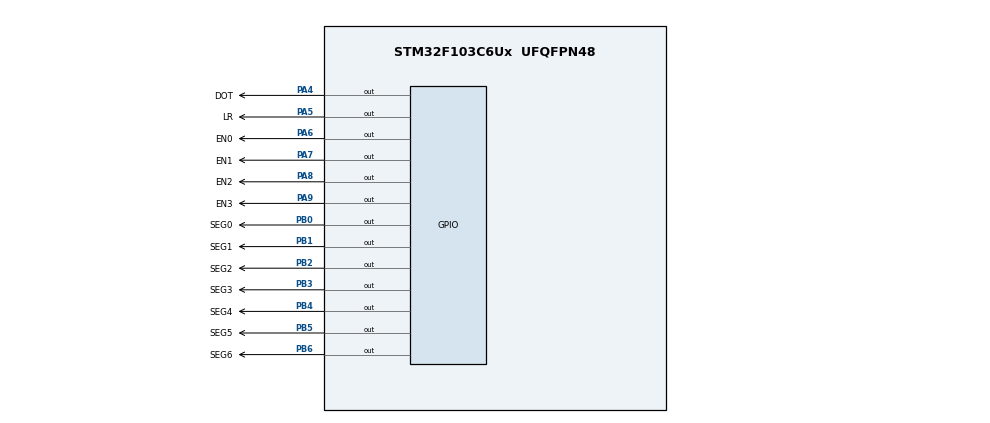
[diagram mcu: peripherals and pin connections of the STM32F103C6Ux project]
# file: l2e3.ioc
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Mcu.Family=STM32F1
Mcu.Name=STM32F103C6Ux
Mcu.Package=UFQFPN48
NVIC.PriorityGroup=NVIC_PRIORITYGROUP_4
NVIC.TIM2_IRQn=true\:0\:0\:false\:false\:true\:true\:true
PA4.GPIO_Label=DOT
PA4.Signal=GPIO_Output
PA5.GPIO_Label=LR
PA5.Signal=GPIO_Output
PA6.GPIO_Label=EN0
PA6.Signal=GPIO_Output
PA7.GPIO_Label=EN1
PA7.Signal=GPIO_Output
PA8.GPIO_Label=EN2
PA8.Signal=GPIO_Output
PA9.GPIO_Label=EN3
PA9.Signal=GPIO_Output
PB0.GPIO_Label=SEG0
PB0.Signal=GPIO_Output
PB1.GPIO_Label=SEG1
PB1.Signal=GPIO_Output
PB2.GPIO_Label=SEG2
PB2.Signal=GPIO_Output
PB3.GPIO_Label=SEG3
PB3.Signal=GPIO_Output
PB4.GPIO_Label=SEG4
PB4.Signal=GPIO_Output
PB5.GPIO_Label=SEG5
PB5.Signal=GPIO_Output
PB6.GPIO_Label=SEG6
PB6.Signal=GPIO_Output
ProjectManager.HeapSize=0x200
ProjectManager.StackSize=0x400
ProjectManager.TargetToolchain=STM32CubeIDE
RCC.APB1Freq_Value=8000000
RCC.APB2Freq_Value=8000000
TIM2.Period=9
TIM2.Prescaler=7999
VP_SYS_VS_ND.Mode=No_Debug
VP_TIM2_VS_ClockSourceINT.Mode=Internal
board=custom

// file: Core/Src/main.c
/* USER CODE BEGIN Header */
/**
  ******************************************************************************
  * @file           : main.c
  * @brief          : Main program body
  ******************************************************************************
  * @attention
  *
  * <h2><center>&copy; Copyright (c) 2026 STMicroelectronics.
  * All rights reserved.</center></h2>
  *
  * This software component is licensed by ST under BSD 3-Clause license,
  * the "License"; You may not use this file except in compliance with the
  * License. You may obtain a copy of the License at:
  *                        opensource.org/licenses/BSD-3-Clause
  *
  ******************************************************************************
  */
/* USER CODE END Header */
#include "main.h"

TIM_HandleTypeDef htim2;

void SystemClock_Config(void);
static void MX_GPIO_Init(void);
static void MX_TIM2_Init(void);

void display7SEG(int num) {
    if (num < 0 || num > 9) return;

    uint8_t segMatrix[10][7] = {
        {0, 0, 0, 0, 0, 0, 1}, // Số 0
        {1, 0, 0, 1, 1, 1, 1}, // Số 1
        {0, 0, 1, 0, 0, 1, 0}, // Số 2
        {0, 0, 0, 0, 1, 1, 0}, // Số 3
        {1, 0, 0, 1, 1, 0, 0}, // Số 4
        {0, 1, 0, 0, 1, 0, 0}, // Số 5
        {0, 1, 0, 0, 0, 0, 0}, // Số 6
        {0, 0, 0, 1, 1, 1, 1}, // Số 7
        {0, 0, 0, 0, 0, 0, 0}, // Số 8
        {0, 0, 0, 0, 1, 0, 0}  // Số 9
    };

    HAL_GPIO_WritePin(SEG0_GPIO_Port, SEG0_Pin, segMatrix[num][0]);
    HAL_GPIO_WritePin(SEG1_GPIO_Port, SEG1_Pin, segMatrix[num][1]);
    HAL_GPIO_WritePin(SEG2_GPIO_Port, SEG2_Pin, segMatrix[num][2]);
    HAL_GPIO_WritePin(SEG3_GPIO_Port, SEG3_Pin, segMatrix[num][3]);
    HAL_GPIO_WritePin(SEG4_GPIO_Port, SEG4_Pin, segMatrix[num][4]);
    HAL_GPIO_WritePin(SEG5_GPIO_Port, SEG5_Pin, segMatrix[num][5]);
    HAL_GPIO_WritePin(SEG6_GPIO_Port, SEG6_Pin, segMatrix[num][6]);
}
int main(void)
{

  /* MCU Configuration--------------------------------------------------------*/

  /* Reset of all peripherals, Initializes the Flash interface and the Systick. */
  HAL_Init();

  /* Configure the system clock */
  SystemClock_Config();

  /* Initialize all configured peripherals */
  MX_GPIO_Init();
  MX_TIM2_Init();
  /* USER CODE BEGIN 2 */
  HAL_TIM_Base_Start_IT (& htim2 );
  /* USER CODE END 2 */

  /* Infinite loop */
  while (1)
  {

  }
}

void SystemClock_Config(void)
{
  RCC_OscInitTypeDef RCC_OscInitStruct = {0};
  RCC_ClkInitTypeDef RCC_ClkInitStruct = {0};

  /** Initializes the RCC Oscillators according to the specified parameters
  * in the RCC_OscInitTypeDef structure.
  */
  RCC_OscInitStruct.OscillatorType = RCC_OSCILLATORTYPE_HSI;
  RCC_OscInitStruct.HSIState = RCC_HSI_ON;
  RCC_OscInitStruct.HSICalibrationValue = RCC_HSICALIBRATION_DEFAULT;
  RCC_OscInitStruct.PLL.PLLState = RCC_PLL_NONE;
  if (HAL_RCC_OscConfig(&RCC_OscInitStruct) != HAL_OK)
  {
    Error_Handler();
  }
  /** Initializes the CPU, AHB and APB buses clocks
  */
  RCC_ClkInitStruct.ClockType = RCC_CLOCKTYPE_HCLK|RCC_CLOCKTYPE_SYSCLK
                              |RCC_CLOCKTYPE_PCLK1|RCC_CLOCKTYPE_PCLK2;
  RCC_ClkInitStruct.SYSCLKSource = RCC_SYSCLKSOURCE_HSI;
  RCC_ClkInitStruct.AHBCLKDivider = RCC_SYSCLK_DIV1;
  RCC_ClkInitStruct.APB1CLKDivider = RCC_HCLK_DIV1;
  RCC_ClkInitStruct.APB2CLKDivider = RCC_HCLK_DIV1;

  if (HAL_RCC_ClockConfig(&RCC_ClkInitStruct, FLASH_LATENCY_0) != HAL_OK)
  {
    Error_Handler();
  }
}

static void MX_TIM2_Init(void)
{

  TIM_ClockConfigTypeDef sClockSourceConfig = {0};
  TIM_MasterConfigTypeDef sMasterConfig = {0};

  htim2.Instance = TIM2;
  htim2.Init.Prescaler = 7999;
  htim2.Init.CounterMode = TIM_COUNTERMODE_UP;
  htim2.Init.Period = 9;
  htim2.Init.ClockDivision = TIM_CLOCKDIVISION_DIV1;
  htim2.Init.AutoReloadPreload = TIM_AUTORELOAD_PRELOAD_DISABLE;
  if (HAL_TIM_Base_Init(&htim2) != HAL_OK)
  {
    Error_Handler();
  }
  sClockSourceConfig.ClockSource = TIM_CLOCKSOURCE_INTERNAL;
  if (HAL_TIM_ConfigClockSource(&htim2, &sClockSourceConfig) != HAL_OK)
  {
    Error_Handler();
  }
  sMasterConfig.MasterOutputTrigger = TIM_TRGO_RESET;
  sMasterConfig.MasterSlaveMode = TIM_MASTERSLAVEMODE_DISABLE;
  if (HAL_TIMEx_MasterConfigSynchronization(&htim2, &sMasterConfig) != HAL_OK)
  {
    Error_Handler();
  }

}

static void MX_GPIO_Init(void)
{
  GPIO_InitTypeDef GPIO_InitStruct = {0};

  /* GPIO Ports Clock Enable */
  __HAL_RCC_GPIOA_CLK_ENABLE();
  __HAL_RCC_GPIOB_CLK_ENABLE();

  /*Configure GPIO pin Output Level */
  HAL_GPIO_WritePin(GPIOA, DOT_Pin|LR_Pin|EN0_Pin|EN1_Pin
                          |EN2_Pin|EN3_Pin, GPIO_PIN_RESET);

  /*Configure GPIO pin Output Level */
  HAL_GPIO_WritePin(GPIOB, SEG0_Pin|SEG1_Pin|SEG2_Pin|SEG3_Pin
                          |SEG4_Pin|SEG5_Pin|SEG6_Pin, GPIO_PIN_RESET);

  /*Configure GPIO pins : DOT_Pin LR_Pin EN0_Pin EN1_Pin
                           EN2_Pin EN3_Pin */
  GPIO_InitStruct.Pin = DOT_Pin|LR_Pin|EN0_Pin|EN1_Pin
                          |EN2_Pin|EN3_Pin;
  GPIO_InitStruct.Mode = GPIO_MODE_OUTPUT_PP;
  GPIO_InitStruct.Pull = GPIO_NOPULL;
  GPIO_InitStruct.Speed = GPIO_SPEED_FREQ_LOW;
  HAL_GPIO_Init(GPIOA, &GPIO_InitStruct);

  /*Configure GPIO pins : SEG0_Pin SEG1_Pin SEG2_Pin SEG3_Pin
                           SEG4_Pin SEG5_Pin SEG6_Pin */
  GPIO_InitStruct.Pin = SEG0_Pin|SEG1_Pin|SEG2_Pin|SEG3_Pin
                          |SEG4_Pin|SEG5_Pin|SEG6_Pin;
  GPIO_InitStruct.Mode = GPIO_MODE_OUTPUT_PP;
  GPIO_InitStruct.Pull = GPIO_NOPULL;
  GPIO_InitStruct.Speed = GPIO_SPEED_FREQ_LOW;
  HAL_GPIO_Init(GPIOB, &GPIO_InitStruct);

}

/* USER CODE BEGIN 4 */
int counter = 50;
int led = 0;
const int MAX_LED = 4;
int index_led = 0;
int led_buffer [4] = {1 , 2 , 3 , 4};
void update7SEG(int index)
{
    // Tắt cả 4 LED
    HAL_GPIO_WritePin(EN0_GPIO_Port, EN0_Pin, GPIO_PIN_SET);
    HAL_GPIO_WritePin(EN1_GPIO_Port, EN1_Pin, GPIO_PIN_SET);
    HAL_GPIO_WritePin(EN2_GPIO_Port, EN2_Pin, GPIO_PIN_SET);
    HAL_GPIO_WritePin(EN3_GPIO_Port, EN3_Pin, GPIO_PIN_SET);

    switch(index)
    {
        case 0:
            display7SEG(led_buffer[0]);
            HAL_GPIO_WritePin(EN0_GPIO_Port, EN0_Pin, GPIO_PIN_RESET);
            break;
        case 1:
            display7SEG(led_buffer[1]);
            HAL_GPIO_WritePin(EN1_GPIO_Port, EN1_Pin, GPIO_PIN_RESET);
            break;
        case 2:
            display7SEG(led_buffer[2]);
            HAL_GPIO_WritePin(EN2_GPIO_Port, EN2_Pin, GPIO_PIN_RESET);
            break;
        case 3:
            display7SEG(led_buffer[3]);
            HAL_GPIO_WritePin(EN3_GPIO_Port, EN3_Pin, GPIO_PIN_RESET);
            break;
        default:
            break;
    }
}
void HAL_TIM_PeriodElapsedCallback ( TIM_HandleTypeDef * htim){
	counter--;
    if (counter <= 0){
    	counter = 50;
    	update7SEG(index_led++);
    	if (index_led >= MAX_LED) index_led = 0;
    }
}
/* USER CODE END 4 */

void Error_Handler(void)
{
  __disable_irq();
  while (1)
  {
  }
}

/************************ (C) COPYRIGHT STMicroelectronics *****END OF FILE****/
